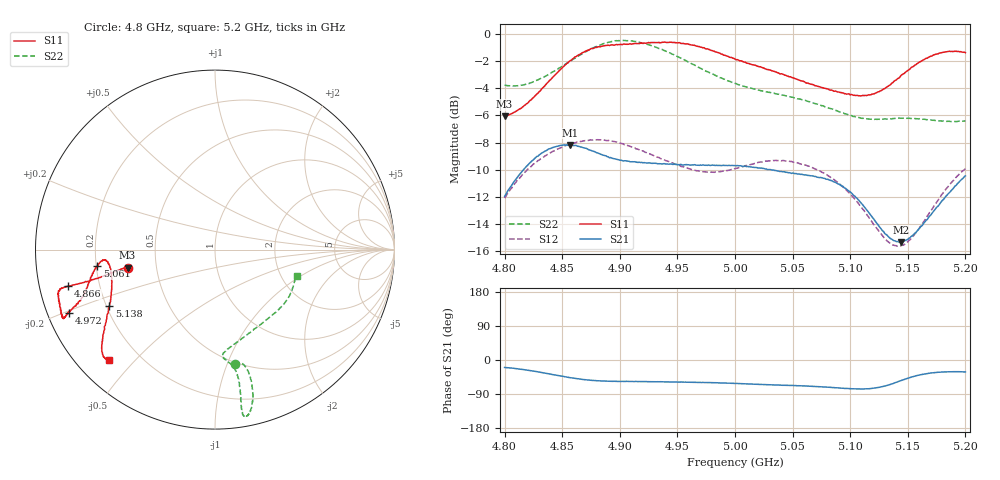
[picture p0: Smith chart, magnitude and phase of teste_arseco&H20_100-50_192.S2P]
! Network Analyzer HP8722D
! Hewlett-Packard
! Data name: Linha & Wilkinson
! Saver's name: Rodrigo Anjos
! Comments: Teste da utilização de aquisição
! continua pelo VNA HP8722D
! Time and date: 6/5/2025 14:10
!  Frequency  S11  S21  S12  S22
# HZ  S  MA R 50
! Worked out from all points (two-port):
!   401 points, 4.8 GHz to 5.2 GHz, reference 50 ohm
!   highest |S21| = -8.17 dB at 4.857 GHz (marker M1); lowest = -15.3 dB at 5.144 GHz (marker M2)
!   |S21| within 3 dB of the highest: 4.806 GHz to 5.092 GHz (286.2 MHz wide, 5.78 % of centre); 5.191538 GHz to end of sweep
!   lowest |S11| = -6.1 dB at 4.8 GHz (marker M3), VSWR 2.98, Z = 16.9 - j4.55 ohm
!   |S11| at or under -10 dB: nowhere
!   |S22| runs from -6.5 to -0.5 dB; largest |S21 - S12| = 0.62
!   S11 on the Smith chart (normalised r, x): 4.8 GHz: 0.34, -0.09; 4.866 GHz: 0.09, -0.12; 4.972 GHz: 0.06, -0.21; 5.061 GHz: 0.20, -0.07; 5.138 GHz: 0.21, -0.24; 5.2 GHz: 0.09, -0.42
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4.8e9  0.4977 -168.3  0.2528 -19.7  0.2491 -141.0  0.6473 -80.3
4.829e9  0.6044 -167.0  0.3551 -31.3  0.3421 -145.2  0.6773 -75.2
4.857e9  0.7964 -166.0  0.3905 -46.7  0.393 -150.5  0.7948 -74.8
4.866e9  0.8429 -166.1  0.3835 -50.5  0.4019 -152.0  0.837 -75.4
4.867e9  0.849 -166.0  0.3828 -51.0  0.4022 -152.2  0.8421 -75.4
4.88e9  0.8904 -165.6  0.3651 -54.7  0.4078 -154.3  0.8995 -76.7
4.899e9  0.9121 -162.9  0.3442 -56.6  0.3976 -156.8  0.9435 -79.2
4.934e9  0.9293 -156.6  0.3331 -57.6  0.3509 -155.8  0.8826 -80.5
4.951e9  0.927 -155.6  0.3303 -58.3  0.3287 -152.7  0.821 -80.0
4.972e9  0.8878 -156.6  0.3296 -59.1  0.3114 -146.3  0.7401 -79.7
5e9  0.8074 -159.2  0.3276 -62.0  0.3197 -137.3  0.6572 -81.4
5.036e9  0.7225 -165.8  0.3137 -66.1  0.342 -134.5  0.6015 -85.7
5.061e9  0.6629 -171.9  0.3031 -68.5  0.3291 -136.4  0.569 -83.9
5.067e9  0.6512 -173.1  0.3007 -69.3  0.3224 -136.9  0.5576 -82.6
5.086e9  0.6147 -174.6  0.2853 -72.8  0.2911 -138.5  0.5253 -75.3
5.102e9  0.5963 -171.8  0.2573 -76.0  0.2525 -138.8  0.4974 -66.0
5.117e9  0.5959 -164.9  0.2179 -75.6  0.2084 -135.1  0.4854 -55.1
5.134e9  0.6462 -154.2  0.1781 -65.3  0.1706 -120.7  0.4878 -43.2
5.138e9  0.6687 -151.8  0.1735 -61.0  0.1669 -115.4  0.488 -40.7
5.144e9  0.7018 -148.9  0.1714 -54.4  0.1662 -107.4  0.4891 -37.4
5.173e9  0.8369 -139.0  0.224 -33.3  0.2337 -80.9  0.4807 -24.2
5.2e9  0.8522 -133.7  0.3004 -31.6  0.3191 -77.1  0.4776 -17.6
